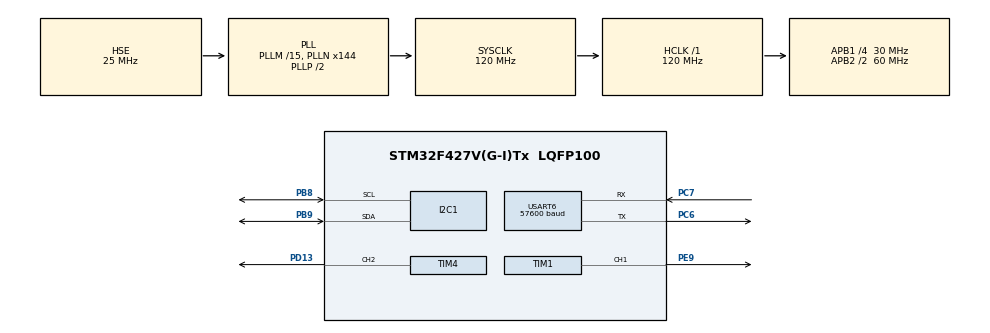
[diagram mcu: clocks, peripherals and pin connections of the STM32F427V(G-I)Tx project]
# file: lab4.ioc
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I2C1.I2C_Mode=I2C_Fast
Mcu.Family=STM32F4
Mcu.Name=STM32F427V(G-I)Tx
Mcu.Package=LQFP100
NVIC.PriorityGroup=NVIC_PRIORITYGROUP_4
NVIC.TIM6_DAC_IRQn=true\:0\:0\:false\:false\:true\:true\:true\:true
NVIC.USART6_IRQn=true\:0\:0\:false\:false\:true\:true\:true\:true
PA13.Mode=JTAG_5_pins
PA13.Signal=SYS_JTMS-SWDIO
PA14.Mode=JTAG_5_pins
PA14.Signal=SYS_JTCK-SWCLK
PA15.Mode=JTAG_5_pins
PA15.Signal=SYS_JTDI
PB3.Mode=JTAG_5_pins
PB3.Signal=SYS_JTDO-SWO
PB4.Mode=JTAG_5_pins
PB4.Signal=SYS_JTRST
PB8.Mode=I2C
PB8.Signal=I2C1_SCL
PB9.Mode=I2C
PB9.Signal=I2C1_SDA
PC6.Mode=Asynchronous
PC6.Signal=USART6_TX
PC7.Mode=Asynchronous
PC7.Signal=USART6_RX
PD13.Signal=S_TIM4_CH2
PE9.Signal=S_TIM1_CH1
PH0/OSC_IN.Mode=HSE-External-Oscillator
PH0/OSC_IN.Signal=RCC_OSC_IN
PH1/OSC_OUT.Mode=HSE-External-Oscillator
PH1/OSC_OUT.Signal=RCC_OSC_OUT
ProjectManager.HeapSize=0x200
ProjectManager.StackSize=0x400
ProjectManager.TargetToolchain=STM32CubeIDE
RCC.48MHZClocksFreq_Value=60000000
RCC.AHBFreq_Value=120000000
RCC.APB1CLKDivider=RCC_HCLK_DIV4
RCC.APB1Freq_Value=30000000
RCC.APB1TimFreq_Value=60000000
RCC.APB2CLKDivider=RCC_HCLK_DIV2
RCC.APB2Freq_Value=60000000
RCC.APB2TimFreq_Value=120000000
RCC.CortexFreq_Value=120000000
RCC.HCLKFreq_Value=120000000
RCC.HSE_VALUE=25000000
RCC.HSI_VALUE=16000000
RCC.LSE_VALUE=32768
RCC.PLLM=15
RCC.PLLN=144
RCC.PLLSourceVirtual=RCC_PLLSOURCE_HSE
RCC.SYSCLKFreq_VALUE=120000000
RCC.SYSCLKSource=RCC_SYSCLKSOURCE_PLLCLK
RCC.VCOOutputFreq_Value=240000000
SH.S_TIM1_CH1.0=TIM1_CH1,PWM Generation1 CH1
SH.S_TIM4_CH2.0=TIM4_CH2,PWM Generation2 CH2
TIM1.Channel-PWM\ Generation1\ CH1=TIM_CHANNEL_1
TIM1.Period=99
TIM1.Prescaler=4499
TIM4.Channel-PWM\ Generation2\ CH2=TIM_CHANNEL_2
TIM4.Period=99
TIM4.Prescaler=4499
TIM6.Period=9999
TIM6.Prescaler=8999
USART6.BaudRate=57600
USART6.VirtualMode=VM_ASYNC
VP_TIM6_VS_ClockSourceINT.Mode=Enable_Timer
board=custom

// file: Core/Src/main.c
/* USER CODE BEGIN Header */
/**
  ******************************************************************************
  * @file           : main.c
  * @brief          : Main program body
  ******************************************************************************
  * @attention
  *
  * Copyright (c) 2025 STMicroelectronics.
  * All rights reserved.
  *
  * This software is licensed under terms that can be found in the LICENSE file
  * in the root directory of this software component.
  * If no LICENSE file comes with this software, it is provided AS-IS.
  *
  ******************************************************************************
  */
/* USER CODE END Header */
#include "main.h"
#include "i2c.h"
#include "tim.h"
#include "usart.h"
#include "gpio.h"

/* USER CODE BEGIN Includes */
#include "musical_keyboard.h"
#include "keyboard_scanner.h"
#include "uart_driver.h"
#include <stdio.h>
#include <string.h>
#include <stdarg.h>
/* USER CODE END Includes */

/* USER CODE BEGIN PTD */

typedef enum {
    MODE_TEST,
    MODE_MUSICAL
} app_mode_t;

/* USER CODE END PTD */

/* USER CODE BEGIN PV */
static UART uart6;
static uint8_t current_octave = 4;
static uint16_t note_duration_ms = 1000;
static app_mode_t current_mode = MODE_MUSICAL;
/* USER CODE END PV */

void SystemClock_Config(void);

/* USER CODE BEGIN 0 */

static void uart_send(const char* str) {
    uart_poll_send_string(&uart6, str);
}

static void uart_send_int(int value) {
    char buffer[12];
    snprintf(buffer, sizeof(buffer), "%d", value);
    uart_send(buffer);
}

static void uart_send_duration(uint16_t duration_ms) {
    char buffer[16];
    int seconds = duration_ms / 1000;
    int tenths = (duration_ms % 1000) / 100;
    snprintf(buffer, sizeof(buffer), "%d.%ds", seconds, tenths);
    uart_send(buffer);
}

static void process_test_mode(int btn_index) {
    uart_send("Button pressed: ");
    uart_send_int(btn_index);
    uart_send("\r\n");
}

static void process_musical_mode(int btn_index) {
    if (btn_index >= 1 && btn_index <= 7) {
        uint8_t note = btn_index - 1;
        play_note(note, current_octave, note_duration_ms);
        uart_send("Playing: ");
        uart_send(note_names[note]);
        uart_send(", octave ");
        uart_send_int(current_octave);
        uart_send(", duration ");
        uart_send_duration(note_duration_ms);
        uart_send("\r\n");
    }
    else if (btn_index == 8) {
        if (current_octave < MAX_OCTAVE) {
            current_octave++;
        }
        uart_send("Settings: octave ");
        uart_send_int(current_octave);
        uart_send(", duration ");
        uart_send_duration(note_duration_ms);
        uart_send("\r\n");
    }
    else if (btn_index == 9) {
        if (current_octave > MIN_OCTAVE) {
            current_octave--;
        }
        uart_send("Settings: octave ");
        uart_send_int(current_octave);
        uart_send(", duration ");
        uart_send_duration(note_duration_ms);
        uart_send("\r\n");
    }
    else if (btn_index == 10) {
        if (note_duration_ms < MAX_DURATION_MS) {
            note_duration_ms += DURATION_STEP_MS;
        }
        uart_send("Settings: octave ");
        uart_send_int(current_octave);
        uart_send(", duration ");
        uart_send_duration(note_duration_ms);
        uart_send("\r\n");
    }
    else if (btn_index == 11) {
        if (note_duration_ms > MIN_DURATION_MS) {
            note_duration_ms -= DURATION_STEP_MS;
        }
        uart_send("Settings: octave ");
        uart_send_int(current_octave);
        uart_send(", duration ");
        uart_send_duration(note_duration_ms);
        uart_send("\r\n");
    }
    else if (btn_index == 12) {
        play_scale(current_octave, note_duration_ms);
        uart_send("Playing scale: octave ");
        uart_send_int(current_octave);
        uart_send(", duration ");
        uart_send_duration(note_duration_ms);
        uart_send("\r\n");
    }
}

static void switch_mode(void) {
    if (current_mode == MODE_TEST) {
        current_mode = MODE_MUSICAL;
        uart_send("Mode: Musical keyboard\r\n");
        uart_send("Button mapping:\r\n");
        uart_send("  1-7: Notes Do-Si\r\n");
        uart_send("  8: Octave up, 9: Octave down\r\n");
        uart_send("  10: Duration up, 11: Duration down\r\n");
        uart_send("  12: Play scale\r\n");
    } else {
        current_mode = MODE_TEST;
        uart_send("Mode: Keyboard test\r\n");
    }
}

/* USER CODE END 0 */

int main(void)
{

  /* MCU Configuration--------------------------------------------------------*/

  /* Reset of all peripherals, Initializes the Flash interface and the Systick. */
  HAL_Init();

  /* Configure the system clock */
  SystemClock_Config();

  /* Initialize all configured peripherals */
  MX_GPIO_Init();
  MX_USART6_UART_Init();
  MX_TIM6_Init();
  MX_TIM4_Init();
  MX_TIM1_Init();
  MX_I2C1_Init();
  /* USER CODE BEGIN 2 */

  uart_init(&uart6, &huart6);
  musical_keyboard_init();
  keyboard_scanner_init();
  HAL_TIM_Base_Start_IT(&htim6);
  HAL_TIM_PWM_Start(&htim1, TIM_CHANNEL_1);

  /* USER CODE END 2 */

  /* Infinite loop */
  /* USER CODE BEGIN WHILE */
  while (1)
  {
      musical_keyboard_update();

      if (keyboard_scanner_check_side_button() == BUTTON_PRESSED) {
          switch_mode();
      }

      int btn_index = keyboard_scanner_get_button();
      if (btn_index != -1) {
          if (current_mode == MODE_TEST) {
              process_test_mode(btn_index);
          } else {
              process_musical_mode(btn_index);
          }
      }
    /* USER CODE END WHILE */

  }
}

void SystemClock_Config(void)
{
  RCC_OscInitTypeDef RCC_OscInitStruct = {0};
  RCC_ClkInitTypeDef RCC_ClkInitStruct = {0};

  /** Configure the main internal regulator output voltage
  */
  __HAL_RCC_PWR_CLK_ENABLE();
  __HAL_PWR_VOLTAGESCALING_CONFIG(PWR_REGULATOR_VOLTAGE_SCALE3);

  /** Initializes the RCC Oscillators according to the specified parameters
  * in the RCC_OscInitTypeDef structure.
  */
  RCC_OscInitStruct.OscillatorType = RCC_OSCILLATORTYPE_HSE;
  RCC_OscInitStruct.HSEState = RCC_HSE_ON;
  RCC_OscInitStruct.PLL.PLLState = RCC_PLL_ON;
  RCC_OscInitStruct.PLL.PLLSource = RCC_PLLSOURCE_HSE;
  RCC_OscInitStruct.PLL.PLLM = 15;
  RCC_OscInitStruct.PLL.PLLN = 144;
  RCC_OscInitStruct.PLL.PLLP = RCC_PLLP_DIV2;
  RCC_OscInitStruct.PLL.PLLQ = 4;
  if (HAL_RCC_OscConfig(&RCC_OscInitStruct) != HAL_OK)
  {
    Error_Handler();
  }

  /** Initializes the CPU, AHB and APB buses clocks
  */
  RCC_ClkInitStruct.ClockType = RCC_CLOCKTYPE_HCLK|RCC_CLOCKTYPE_SYSCLK
                              |RCC_CLOCKTYPE_PCLK1|RCC_CLOCKTYPE_PCLK2;
  RCC_ClkInitStruct.SYSCLKSource = RCC_SYSCLKSOURCE_PLLCLK;
  RCC_ClkInitStruct.AHBCLKDivider = RCC_SYSCLK_DIV1;
  RCC_ClkInitStruct.APB1CLKDivider = RCC_HCLK_DIV4;
  RCC_ClkInitStruct.APB2CLKDivider = RCC_HCLK_DIV2;

  if (HAL_RCC_ClockConfig(&RCC_ClkInitStruct, FLASH_LATENCY_3) != HAL_OK)
  {
    Error_Handler();
  }
}

void Error_Handler(void)
{
  __disable_irq();
  while (1)
  {
  }
}
